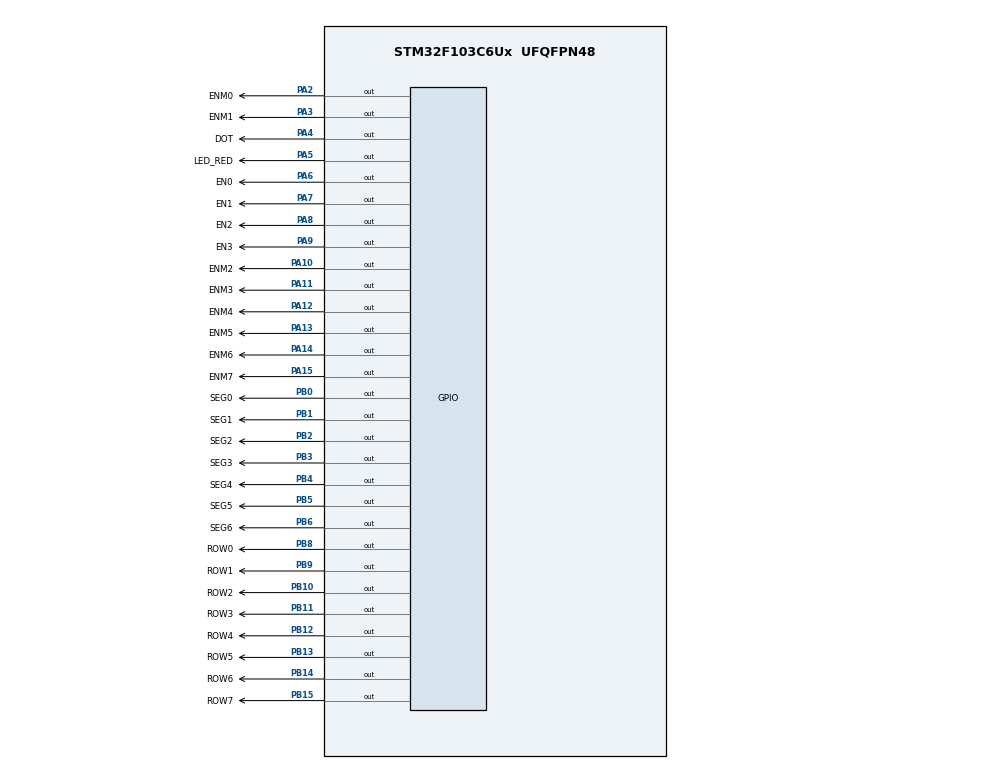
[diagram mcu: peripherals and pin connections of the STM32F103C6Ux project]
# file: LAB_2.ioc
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Mcu.Family=STM32F1
Mcu.Name=STM32F103C6Ux
Mcu.Package=UFQFPN48
NVIC.PriorityGroup=NVIC_PRIORITYGROUP_4
NVIC.TIM2_IRQn=true\:0\:0\:false\:false\:true\:true\:true
PA10.GPIO_Label=ENM2
PA10.Signal=GPIO_Output
PA11.GPIO_Label=ENM3
PA11.Signal=GPIO_Output
PA12.GPIO_Label=ENM4
PA12.Signal=GPIO_Output
PA13.GPIO_Label=ENM5
PA13.Signal=GPIO_Output
PA14.GPIO_Label=ENM6
PA14.Signal=GPIO_Output
PA15.GPIO_Label=ENM7
PA15.Signal=GPIO_Output
PA2.GPIO_Label=ENM0
PA2.Signal=GPIO_Output
PA3.GPIO_Label=ENM1
PA3.Signal=GPIO_Output
PA4.GPIO_Label=DOT
PA4.Signal=GPIO_Output
PA5.GPIO_Label=LED_RED
PA5.Signal=GPIO_Output
PA6.GPIO_Label=EN0
PA6.Signal=GPIO_Output
PA7.GPIO_Label=EN1
PA7.Signal=GPIO_Output
PA8.GPIO_Label=EN2
PA8.Signal=GPIO_Output
PA9.GPIO_Label=EN3
PA9.Signal=GPIO_Output
PB0.GPIO_Label=SEG0
PB0.Signal=GPIO_Output
PB1.GPIO_Label=SEG1
PB1.Signal=GPIO_Output
PB10.GPIO_Label=ROW2
PB10.Signal=GPIO_Output
PB11.GPIO_Label=ROW3
PB11.Signal=GPIO_Output
PB12.GPIO_Label=ROW4
PB12.Signal=GPIO_Output
PB13.GPIO_Label=ROW5
PB13.Signal=GPIO_Output
PB14.GPIO_Label=ROW6
PB14.Signal=GPIO_Output
PB15.GPIO_Label=ROW7
PB15.Signal=GPIO_Output
PB2.GPIO_Label=SEG2
PB2.Signal=GPIO_Output
PB3.GPIO_Label=SEG3
PB3.Signal=GPIO_Output
PB4.GPIO_Label=SEG4
PB4.Signal=GPIO_Output
PB5.GPIO_Label=SEG5
PB5.Signal=GPIO_Output
PB6.GPIO_Label=SEG6
PB6.Signal=GPIO_Output
PB8.GPIO_Label=ROW0
PB8.Signal=GPIO_Output
PB9.GPIO_Label=ROW1
PB9.Signal=GPIO_Output
ProjectManager.HeapSize=0x200
ProjectManager.StackSize=0x400
ProjectManager.TargetToolchain=STM32CubeIDE
RCC.APB1Freq_Value=8000000
RCC.APB2Freq_Value=8000000
TIM2.Period=9
TIM2.Prescaler=7999
VP_SYS_VS_ND.Mode=No_Debug
VP_TIM2_VS_ClockSourceINT.Mode=Internal
board=custom

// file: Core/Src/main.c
/* USER CODE BEGIN Header */
/**
  ******************************************************************************
  * @file           : main.c
  * @brief          : Main program body
  ******************************************************************************
  * @attention
  *
  * <h2><center>&copy; Copyright (c) 2024 STMicroelectronics.
  * All rights reserved.</center></h2>
  *
  * This software component is licensed by ST under BSD 3-Clause license,
  * the "License"; You may not use this file except in compliance with the
  * License. You may obtain a copy of the License at:
  *                        opensource.org/licenses/BSD-3-Clause
  *
  ******************************************************************************
  */
/* USER CODE END Header */
#include "main.h"

/* USER CODE BEGIN Includes */
#include "software_timer.h"
/* USER CODE END Includes */

TIM_HandleTypeDef htim2;

/* USER CODE BEGIN PV */
int hour = 15, minute = 8, second = 50;
int led_buffer[4] = {1, 2, 3, 4};
int index_led = 0;
const int MAX_LED = 4;

/* USER CODE END PV */

void SystemClock_Config(void);
static void MX_GPIO_Init(void);
static void MX_TIM2_Init(void);
/* USER CODE BEGIN PFP */
void display7SEG(int);
void update7SEG(int);
void updateClockBuffer();
/* USER CODE END PFP */

int main(void)
{

  /* MCU Configuration--------------------------------------------------------*/

  /* Reset of all peripherals, Initializes the Flash interface and the Systick. */
  HAL_Init();

  /* Configure the system clock */
  SystemClock_Config();

  /* Initialize all configured peripherals */
  MX_GPIO_Init();
  MX_TIM2_Init();
  /* USER CODE BEGIN 2 */
  HAL_TIM_Base_Start_IT (&htim2);
  /* USER CODE END 2 */

  /* Infinite loop */
  /* USER CODE BEGIN WHILE */
  setTimer0(1000);
  setTimer1(250);
  updateClockBuffer();
  while (1)
  {
	  // ex 8 run
	if(second >= 60){
	  second = 0;
	  minute++;
	}
	if(minute >= 60){
	  minute = 0;
	  hour++;
	}
	if(hour >= 24){
	  hour = 0;
	}
	if(timer0_flag == 1){
	  second++;
	  updateClockBuffer();
	  HAL_GPIO_TogglePin(DOT_GPIO_Port, DOT_Pin);
	  setTimer0(1000);
	}
	if(timer1_flag == 1){
		setTimer1(250);
		update7SEG(index_led++);
	}
	if (index_led >= MAX_LED) {
		index_led = 0;
	}
    /* USER CODE END WHILE */

  }
}

void SystemClock_Config(void)
{
  RCC_OscInitTypeDef RCC_OscInitStruct = {0};
  RCC_ClkInitTypeDef RCC_ClkInitStruct = {0};

  /** Initializes the RCC Oscillators according to the specified parameters
  * in the RCC_OscInitTypeDef structure.
  */
  RCC_OscInitStruct.OscillatorType = RCC_OSCILLATORTYPE_HSI;
  RCC_OscInitStruct.HSIState = RCC_HSI_ON;
  RCC_OscInitStruct.HSICalibrationValue = RCC_HSICALIBRATION_DEFAULT;
  RCC_OscInitStruct.PLL.PLLState = RCC_PLL_NONE;
  if (HAL_RCC_OscConfig(&RCC_OscInitStruct) != HAL_OK)
  {
    Error_Handler();
  }
  /** Initializes the CPU, AHB and APB buses clocks
  */
  RCC_ClkInitStruct.ClockType = RCC_CLOCKTYPE_HCLK|RCC_CLOCKTYPE_SYSCLK
                              |RCC_CLOCKTYPE_PCLK1|RCC_CLOCKTYPE_PCLK2;
  RCC_ClkInitStruct.SYSCLKSource = RCC_SYSCLKSOURCE_HSI;
  RCC_ClkInitStruct.AHBCLKDivider = RCC_SYSCLK_DIV1;
  RCC_ClkInitStruct.APB1CLKDivider = RCC_HCLK_DIV1;
  RCC_ClkInitStruct.APB2CLKDivider = RCC_HCLK_DIV1;

  if (HAL_RCC_ClockConfig(&RCC_ClkInitStruct, FLASH_LATENCY_0) != HAL_OK)
  {
    Error_Handler();
  }
}

static void MX_TIM2_Init(void)
{

  TIM_ClockConfigTypeDef sClockSourceConfig = {0};
  TIM_MasterConfigTypeDef sMasterConfig = {0};

  htim2.Instance = TIM2;
  htim2.Init.Prescaler = 7999;
  htim2.Init.CounterMode = TIM_COUNTERMODE_UP;
  htim2.Init.Period = 9;
  htim2.Init.ClockDivision = TIM_CLOCKDIVISION_DIV1;
  htim2.Init.AutoReloadPreload = TIM_AUTORELOAD_PRELOAD_DISABLE;
  if (HAL_TIM_Base_Init(&htim2) != HAL_OK)
  {
    Error_Handler();
  }
  sClockSourceConfig.ClockSource = TIM_CLOCKSOURCE_INTERNAL;
  if (HAL_TIM_ConfigClockSource(&htim2, &sClockSourceConfig) != HAL_OK)
  {
    Error_Handler();
  }
  sMasterConfig.MasterOutputTrigger = TIM_TRGO_RESET;
  sMasterConfig.MasterSlaveMode = TIM_MASTERSLAVEMODE_DISABLE;
  if (HAL_TIMEx_MasterConfigSynchronization(&htim2, &sMasterConfig) != HAL_OK)
  {
    Error_Handler();
  }

}

static void MX_GPIO_Init(void)
{
  GPIO_InitTypeDef GPIO_InitStruct = {0};

  /* GPIO Ports Clock Enable */
  __HAL_RCC_GPIOA_CLK_ENABLE();
  __HAL_RCC_GPIOB_CLK_ENABLE();

  /*Configure GPIO pin Output Level */
  HAL_GPIO_WritePin(GPIOA, DOT_Pin|LED_RED_Pin|EN0_Pin|EN1_Pin
                          |EN2_Pin|EN3_Pin, GPIO_PIN_RESET);

  /*Configure GPIO pin Output Level */
  HAL_GPIO_WritePin(GPIOB, SEG0_Pin|SEG1_Pin|SEG2_Pin|SEG3_Pin
                          |SEG4_Pin|SEG5_Pin|SEG6_Pin, GPIO_PIN_RESET);

  /*Configure GPIO pins : DOT_Pin LED_RED_Pin EN0_Pin EN1_Pin
                           EN2_Pin EN3_Pin */
  GPIO_InitStruct.Pin = DOT_Pin|LED_RED_Pin|EN0_Pin|EN1_Pin
                          |EN2_Pin|EN3_Pin;
  GPIO_InitStruct.Mode = GPIO_MODE_OUTPUT_PP;
  GPIO_InitStruct.Pull = GPIO_NOPULL;
  GPIO_InitStruct.Speed = GPIO_SPEED_FREQ_LOW;
  HAL_GPIO_Init(GPIOA, &GPIO_InitStruct);

  /*Configure GPIO pins : SEG0_Pin SEG1_Pin SEG2_Pin SEG3_Pin
                           SEG4_Pin SEG5_Pin SEG6_Pin */
  GPIO_InitStruct.Pin = SEG0_Pin|SEG1_Pin|SEG2_Pin|SEG3_Pin
                          |SEG4_Pin|SEG5_Pin|SEG6_Pin;
  GPIO_InitStruct.Mode = GPIO_MODE_OUTPUT_PP;
  GPIO_InitStruct.Pull = GPIO_NOPULL;
  GPIO_InitStruct.Speed = GPIO_SPEED_FREQ_LOW;
  HAL_GPIO_Init(GPIOB, &GPIO_InitStruct);

}

/* USER CODE BEGIN 4 */

void HAL_TIM_PeriodElapsedCallback(TIM_HandleTypeDef * htim){
	timer_run();
}
void update7SEG(int index){
	HAL_GPIO_WritePin(EN0_GPIO_Port, EN0_Pin, SET);
	HAL_GPIO_WritePin(EN1_GPIO_Port, EN1_Pin, SET);
	HAL_GPIO_WritePin(EN2_GPIO_Port, EN2_Pin, SET);
	HAL_GPIO_WritePin(EN3_GPIO_Port, EN3_Pin, SET);
	switch(index){
		case 0:
			//Display the first 7SEG with led_buffer[0]
			HAL_GPIO_WritePin(EN0_GPIO_Port, EN0_Pin, RESET);
			display7SEG(led_buffer[0]);
			break;
		case 1:
			//Display the second 7SEG with led_buffer[1]
			HAL_GPIO_WritePin(EN1_GPIO_Port, EN1_Pin, RESET);
			display7SEG(led_buffer[1]);
			break;
		case 2:
			//Display the third 7SEG with led_buffer[2]
			HAL_GPIO_WritePin(EN2_GPIO_Port, EN2_Pin, RESET);
			display7SEG(led_buffer[2]);
			break;
		case 3:
			//Display the forth 7SEG with led_buffer[3]
			HAL_GPIO_WritePin(EN3_GPIO_Port, EN3_Pin, RESET);
			display7SEG(led_buffer[3]);
			break;
		default:
			break;
	}
}
void display7SEG(int num){
	switch(num){
		case 0:
			HAL_GPIO_WritePin(SEG0_GPIO_Port, SEG0_Pin, RESET);
			HAL_GPIO_WritePin(SEG1_GPIO_Port, SEG1_Pin, RESET);
			HAL_GPIO_WritePin(SEG2_GPIO_Port, SEG2_Pin, RESET);
			HAL_GPIO_WritePin(SEG3_GPIO_Port, SEG3_Pin, RESET);
			HAL_GPIO_WritePin(SEG4_GPIO_Port, SEG4_Pin, RESET);
			HAL_GPIO_WritePin(SEG5_GPIO_Port, SEG5_Pin, RESET);
			HAL_GPIO_WritePin(SEG6_GPIO_Port, SEG6_Pin, SET);
			break;
		case 1:
			HAL_GPIO_WritePin(SEG0_GPIO_Port, SEG0_Pin, SET);
			HAL_GPIO_WritePin(SEG1_GPIO_Port, SEG1_Pin, RESET);
			HAL_GPIO_WritePin(SEG2_GPIO_Port, SEG2_Pin, RESET);
			HAL_GPIO_WritePin(SEG3_GPIO_Port, SEG3_Pin, SET);
			HAL_GPIO_WritePin(SEG4_GPIO_Port, SEG4_Pin, SET);
			HAL_GPIO_WritePin(SEG5_GPIO_Port, SEG5_Pin, SET);
			HAL_GPIO_WritePin(SEG6_GPIO_Port, SEG6_Pin, SET);
			break;
		case 2:
			HAL_GPIO_WritePin(SEG0_GPIO_Port, SEG0_Pin, RESET);
			HAL_GPIO_WritePin(SEG1_GPIO_Port, SEG1_Pin, RESET);
			HAL_GPIO_WritePin(SEG2_GPIO_Port, SEG2_Pin, SET);
			HAL_GPIO_WritePin(SEG3_GPIO_Port, SEG3_Pin, RESET);
			HAL_GPIO_WritePin(SEG4_GPIO_Port, SEG4_Pin, RESET);
			HAL_GPIO_WritePin(SEG5_GPIO_Port, SEG5_Pin, SET);
			HAL_GPIO_WritePin(SEG6_GPIO_Port, SEG6_Pin, RESET);
			break;
		case 3:
			HAL_GPIO_WritePin(SEG0_GPIO_Port, SEG0_Pin, RESET);
			HAL_GPIO_WritePin(SEG1_GPIO_Port, SEG1_Pin, RESET);
			HAL_GPIO_WritePin(SEG2_GPIO_Port, SEG2_Pin, RESET);
			HAL_GPIO_WritePin(SEG3_GPIO_Port, SEG3_Pin, RESET);
			HAL_GPIO_WritePin(SEG4_GPIO_Port, SEG4_Pin, SET);
			HAL_GPIO_WritePin(SEG5_GPIO_Port, SEG5_Pin, SET);
			HAL_GPIO_WritePin(SEG6_GPIO_Port, SEG6_Pin, RESET);
			break;
		case 4:
			HAL_GPIO_WritePin(SEG0_GPIO_Port, SEG0_Pin, SET);
			HAL_GPIO_WritePin(SEG1_GPIO_Port, SEG1_Pin, RESET);
			HAL_GPIO_WritePin(SEG2_GPIO_Port, SEG2_Pin, RESET);
			HAL_GPIO_WritePin(SEG3_GPIO_Port, SEG3_Pin, SET);
			HAL_GPIO_WritePin(SEG4_GPIO_Port, SEG4_Pin, SET);
			HAL_GPIO_WritePin(SEG5_GPIO_Port, SEG5_Pin, RESET);
			HAL_GPIO_WritePin(SEG6_GPIO_Port, SEG6_Pin, RESET);
			break;
		case 5:
			HAL_GPIO_WritePin(SEG0_GPIO_Port, SEG0_Pin, RESET);
			HAL_GPIO_WritePin(SEG1_GPIO_Port, SEG1_Pin, SET);
			HAL_GPIO_WritePin(SEG2_GPIO_Port, SEG2_Pin, RESET);
			HAL_GPIO_WritePin(SEG3_GPIO_Port, SEG3_Pin, RESET);
			HAL_GPIO_WritePin(SEG4_GPIO_Port, SEG4_Pin, SET);
			HAL_GPIO_WritePin(SEG5_GPIO_Port, SEG5_Pin, RESET);
			HAL_GPIO_WritePin(SEG6_GPIO_Port, SEG6_Pin, RESET);
			break;
		case 6:
			HAL_GPIO_WritePin(SEG0_GPIO_Port, SEG0_Pin, RESET);
			HAL_GPIO_WritePin(SEG1_GPIO_Port, SEG1_Pin, SET);
			HAL_GPIO_WritePin(SEG2_GPIO_Port, SEG2_Pin, RESET);
			HAL_GPIO_WritePin(SEG3_GPIO_Port, SEG3_Pin, RESET);
			HAL_GPIO_WritePin(SEG4_GPIO_Port, SEG4_Pin, RESET);
			HAL_GPIO_WritePin(SEG5_GPIO_Port, SEG5_Pin, RESET);
			HAL_GPIO_WritePin(SEG6_GPIO_Port, SEG6_Pin, RESET);
			break;
		case 7:
			HAL_GPIO_WritePin(SEG0_GPIO_Port, SEG0_Pin, RESET);
			HAL_GPIO_WritePin(SEG1_GPIO_Port, SEG1_Pin, RESET);
			HAL_GPIO_WritePin(SEG2_GPIO_Port, SEG2_Pin, RESET);
			HAL_GPIO_WritePin(SEG3_GPIO_Port, SEG3_Pin, SET);
			HAL_GPIO_WritePin(SEG4_GPIO_Port, SEG4_Pin, SET);
			HAL_GPIO_WritePin(SEG5_GPIO_Port, SEG5_Pin, SET);
			HAL_GPIO_WritePin(SEG6_GPIO_Port, SEG6_Pin, SET);
			break;
		case 8:
			HAL_GPIO_WritePin(SEG0_GPIO_Port, SEG0_Pin, RESET);
			HAL_GPIO_WritePin(SEG1_GPIO_Port, SEG1_Pin, RESET);
			HAL_GPIO_WritePin(SEG2_GPIO_Port, SEG2_Pin, RESET);
			HAL_GPIO_WritePin(SEG3_GPIO_Port, SEG3_Pin, RESET);
			HAL_GPIO_WritePin(SEG4_GPIO_Port, SEG4_Pin, RESET);
			HAL_GPIO_WritePin(SEG5_GPIO_Port, SEG5_Pin, RESET);
			HAL_GPIO_WritePin(SEG6_GPIO_Port, SEG6_Pin, RESET);
			break;
		case 9:
			HAL_GPIO_WritePin(SEG0_GPIO_Port, SEG0_Pin, RESET);
			HAL_GPIO_WritePin(SEG1_GPIO_Port, SEG1_Pin, RESET);
			HAL_GPIO_WritePin(SEG2_GPIO_Port, SEG2_Pin, RESET);
			HAL_GPIO_WritePin(SEG3_GPIO_Port, SEG3_Pin, RESET);
			HAL_GPIO_WritePin(SEG4_GPIO_Port, SEG4_Pin, SET);
			HAL_GPIO_WritePin(SEG5_GPIO_Port, SEG5_Pin, RESET);
			HAL_GPIO_WritePin(SEG6_GPIO_Port, SEG6_Pin, RESET);
			break;
		default:
			break;
	}
}
void updateClockBuffer(){
	led_buffer[0] = hour / 10;
	led_buffer[1] = hour % 10;
	led_buffer[2] = minute / 10;
	led_buffer[3] = minute % 10;
}
/* USER CODE END 4 */

void Error_Handler(void)
{
  __disable_irq();
  while (1)
  {
  }
}

/************************ (C) COPYRIGHT STMicroelectronics *****END OF FILE****/
